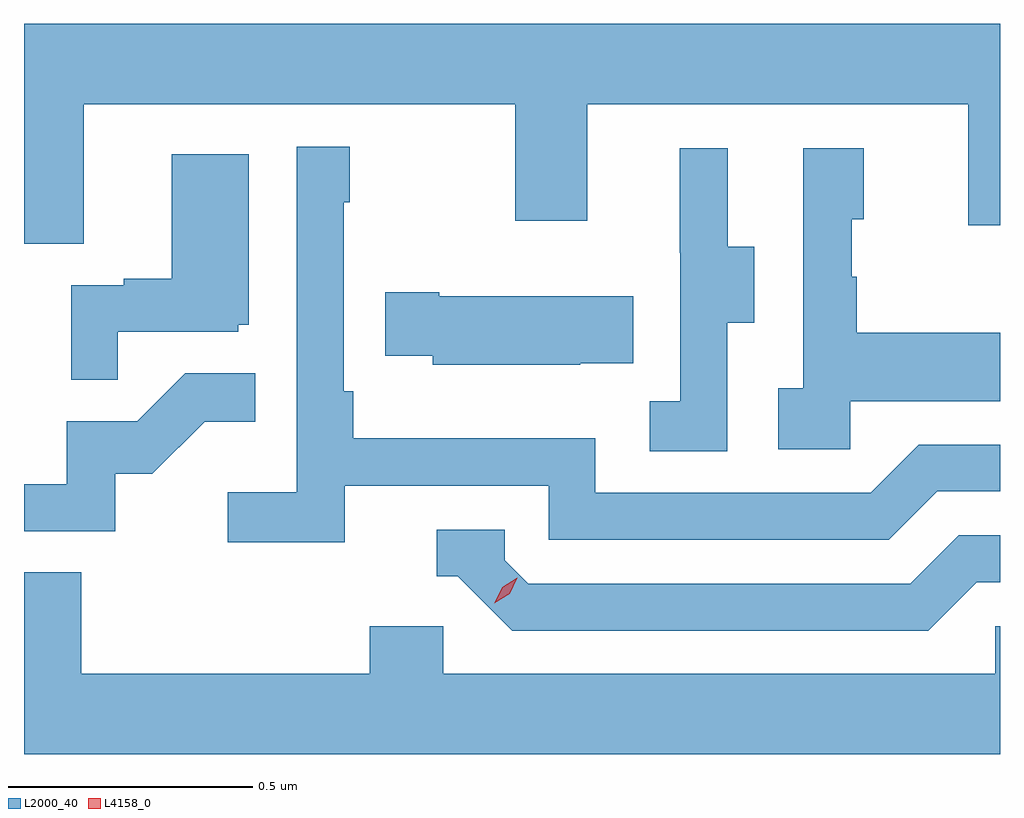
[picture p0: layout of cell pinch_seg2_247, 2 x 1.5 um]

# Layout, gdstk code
import gdstk
lib = gdstk.Library(unit=1e-6, precision=1e-09)
def P(c, l, *ps):  # polygons
    for p in ps: c.add(gdstk.Polygon(p, *l))
L2000_40 = (2000, 40)
L4158_0 = (4158, 0)

pinch_seg2_247 = lib.new_cell('pinch_seg2_247')
P(pinch_seg2_247, L2000_40, [(937.279,651.632),(938.164,651.632),(938.164,651.393),(938.311,651.393),(938.311,651.632),(939.092,651.632),(939.092,651.384),(939.157,651.384),(939.157,651.796),(937.157,651.796),(937.157,651.346),(937.279,651.346)],
  [(937.814,650.85),(938.232,650.85),(938.232,650.739),(938.929,650.739),(939.028,650.838),(939.157,650.838),(939.157,650.934),(938.991,650.934),(938.892,650.835),(938.328,650.835),(938.328,650.947),(937.832,650.947),(937.832,651.043),(937.812,651.043),(937.812,651.431),(937.825,651.431),(937.825,651.544),(937.716,651.544),(937.716,650.836),(937.575,650.836),(937.575,650.734),(937.814,650.734)],
  [(938.598,651.184),(938.653,651.184),(938.653,651.339),(938.599,651.339),(938.599,651.541),(938.501,651.541),(938.501,651.327),(938.502,651.327),(938.502,651.023),(938.439,651.023),(938.439,650.92),(938.598,650.92)],
  [(938.85,651.023),(939.157,651.023),(939.157,651.163),(938.863,651.163),(938.863,651.278),(938.853,651.278),(938.853,651.396),(938.878,651.396),(938.878,651.541),(938.754,651.541),(938.754,651.05),(938.703,651.05),(938.703,650.925),(938.85,650.925)],
  [(937.349,651.165),(937.596,651.165),(937.596,651.18),(937.618,651.18),(937.618,651.529),(937.46,651.529),(937.46,651.274),(937.361,651.274),(937.361,651.261),(937.254,651.261),(937.254,651.067),(937.349,651.067)],
  [(938.297,651.101),(938.405,651.101),(938.405,651.238),(938.008,651.238),(938.008,651.246),(937.897,651.246),(937.897,651.116),(937.995,651.116),(937.995,651.098),(938.297,651.098)],
  [(937.344,650.874),(937.42,650.874),(937.527,650.981),(937.631,650.981),(937.631,651.08),(937.487,651.08),(937.389,650.982),(937.245,650.982),(937.245,650.853),(937.157,650.853),(937.157,650.757),(937.344,650.757)],
  [(939.109,650.652),(939.157,650.652),(939.157,650.748),(939.072,650.748),(938.973,650.649),(938.19,650.649),(938.142,650.697),(938.142,650.76),(938.003,650.76),(938.003,650.664),(938.046,650.664),(938.157,650.553),(939.01,650.553)],
  [(939.157,650.562),(939.147,650.562),(939.147,650.464),(938.016,650.464),(938.016,650.562),(937.865,650.562),(937.865,650.464),(937.274,650.464),(937.274,650.672),(937.157,650.672),(937.157,650.3),(939.157,650.3)])
P(pinch_seg2_247, L4158_0, [(938.121,650.609),(938.121,650.609),(938.137,650.642),(938.168,650.661),(938.168,650.661),(938.168,650.661),(938.152,650.628),(938.121,650.609)])

lib.write_gds('pinch_seg2_247.gds')
